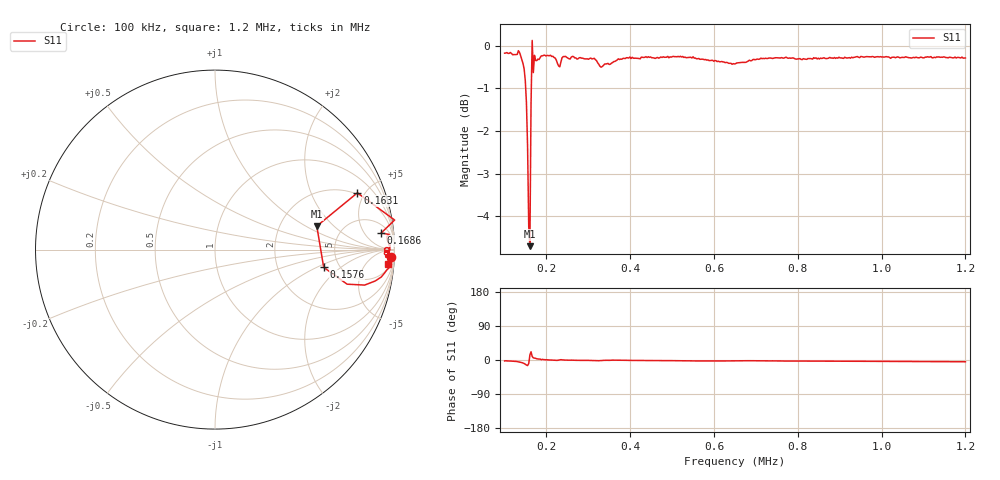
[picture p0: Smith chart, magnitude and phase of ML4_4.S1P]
!Agilent Technologies,E5071C,MY46100265,A.07.02
!Date: Wed Mar 04 14:57:00 2020
!Data & Calibration Information:
!Freq	S11:SOLT1(ON)
# Hz S MA R 50
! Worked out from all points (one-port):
!   402 points, 100 kHz to 1.2 MHz, reference 50 ohm
!   lowest |S11| = -4.7 dB at 160.3 kHz (marker M1), VSWR 3.79, Z = 162 + j64 ohm
!   |S11| at or under -10 dB: nowhere
!   S11 on the Smith chart (normalised r, x): 100 kHz: 18, -38; 157.6 kHz: 3.77, -1.19; 163.1 kHz: 1.90, +4.43; 168.6 kHz: 10, +13; 1.2 MHz: 8, -21
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100000  0.9801 -2.4
124688  0.9762 -3.6
132918  0.9867 -4.9
141147  0.9627 -6.9
146633  0.9394 -9.3
149377  0.9099 -11.1
152120  0.857 -13.3
154863  0.7607 -14.7
157606  0.6136 -9.3
160349  0.582 13.0
163092  0.8541 21.7
165835  1.014 9.3
168579  0.9301 5.7
171322  0.9745 5.0
174065  0.9609 4.4
182294  0.9634 2.5
220698  0.9673 -0.8
228928  0.9469 -0.4
239900  0.9711 0.2
319451  0.9605 -1.8
333167  0.9454 -0.9
377057  0.9647 -0.5
514214  0.9715 -1.9
651372  0.9526 -2.1
788529  0.9678 -2.8
925686  0.9669 -3.2
1062843  0.9688 -3.9
1200000  0.9674 -4.7
